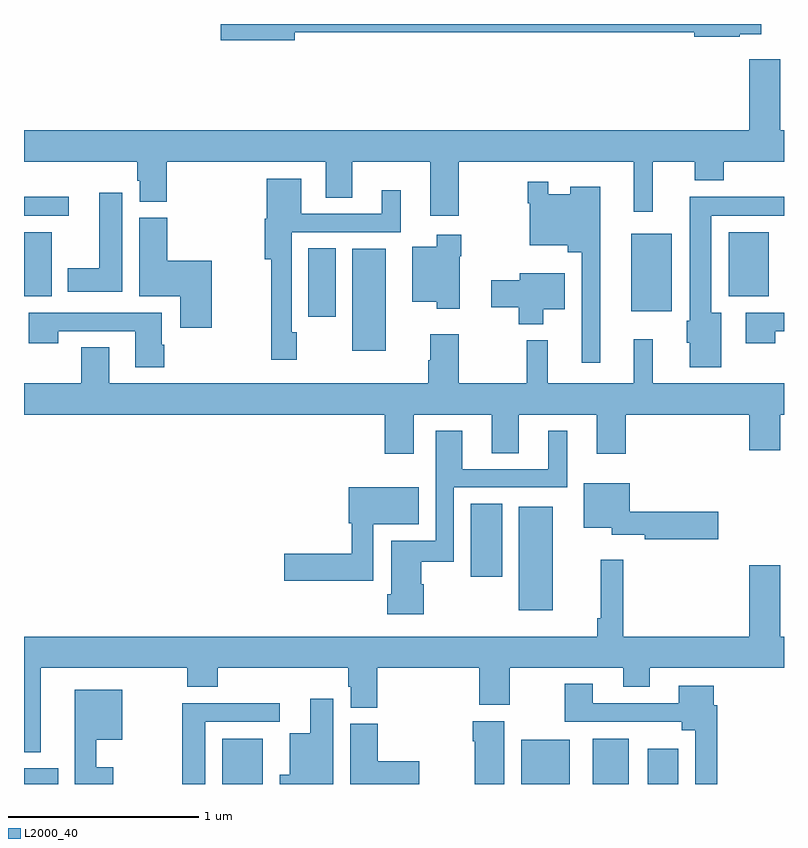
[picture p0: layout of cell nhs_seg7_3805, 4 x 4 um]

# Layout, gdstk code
import gdstk
lib = gdstk.Library(unit=1e-6, precision=1e-09)
def R(c, l, rs):  # rectangles x0, y0, x1, y1
    for r in rs: c.add(gdstk.rectangle(r[:2], r[2:], *l))
def P(c, l, *ps):  # polygons
    for p in ps: c.add(gdstk.Polygon(p, *l))
L2000_40 = (2000, 40)

nhs_seg7_3805 = lib.new_cell('nhs_seg7_3805')
R(nhs_seg7_3805, L2000_40, [(353,1004,353.179,1004.083), (354.044,1004,354.256,1004.239), (355.616,1004,355.873,1004.233), (355.994,1004,356.182,1004.239), (356.282,1004,356.443,1004.185), (355.604,1004.915,355.783,1005.46), (355.352,1005.092,355.516,1005.476), (354.728,1006.28,354.904,1006.816), (354.497,1006.458,354.64,1006.82), (356.195,1006.487,356.41,1006.897), (353,1006.568,353.146,1006.903), (356.708,1006.568,356.92,1006.903), (353,1006.992,353.236,1007.09)])
P(nhs_seg7_3805, L2000_40, [(354.424,1007.956),(356.528,1007.956),(356.528,1007.933),(356.768,1007.933),(356.768,1007.945),(356.881,1007.945),(356.881,1008),(354.036,1008),(354.036,1007.914),(354.424,1007.914)],
  [(355.287,1007.276),(356.21,1007.276),(356.21,1007.013),(356.31,1007.013),(356.31,1007.276),(356.531,1007.276),(356.531,1007.177),(356.684,1007.177),(356.684,1007.276),(357,1007.276),(357,1007.44),(356.98,1007.44),(356.98,1007.815),(356.816,1007.815),(356.816,1007.44),(353,1007.44),(353,1007.276),(353.597,1007.276),(353.597,1007.175),(353.609,1007.175),(353.609,1007.065),(353.75,1007.065),(353.75,1007.276),(354.587,1007.276),(354.587,1007.086),(354.727,1007.086),(354.727,1007.276),(355.139,1007.276),(355.139,1006.992),(355.287,1006.992)],
  [(354.435,1006.377),(354.408,1006.377),(354.408,1006.905),(354.982,1006.905),(354.982,1007.125),(354.884,1007.125),(354.884,1007.001),(354.46,1007.001),(354.46,1007.185),(354.278,1007.185),(354.278,1006.974),(354.266,1006.974),(354.266,1006.763),(354.3,1006.763),(354.3,1006.233),(354.435,1006.233)],
  [(356.032,1007.143),(355.874,1007.143),(355.874,1007.104),(355.758,1007.104),(355.758,1007.17),(355.65,1007.17),(355.65,1007.057),(355.662,1007.057),(355.662,1006.835),(355.862,1006.835),(355.862,1006.799),(355.935,1006.799),(355.935,1006.218),(356.032,1006.218)],
  [(353.518,1007.113),(353.396,1007.113),(353.396,1006.714),(353.231,1006.714),(353.231,1006.592),(353.518,1006.592)],
  [(356.671,1006.48),(356.617,1006.48),(356.617,1006.992),(357,1006.992),(357,1007.09),(356.504,1007.09),(356.504,1006.437),(356.487,1006.437),(356.487,1006.323),(356.504,1006.323),(356.504,1006.194),(356.671,1006.194)],
  [(353.988,1006.753),(353.753,1006.753),(353.753,1006.98),(353.606,1006.98),(353.606,1006.568),(353.822,1006.568),(353.822,1006.401),(353.988,1006.401)],
  [(355.294,1006.778),(355.302,1006.778),(355.302,1006.891),(355.172,1006.891),(355.172,1006.828),(355.043,1006.828),(355.043,1006.538),(355.172,1006.538),(355.172,1006.502),(355.294,1006.502)],
  [(355.732,1006.499),(355.846,1006.499),(355.846,1006.687),(355.61,1006.687),(355.61,1006.652),(355.458,1006.652),(355.458,1006.51),(355.603,1006.51),(355.603,1006.421),(355.732,1006.421)],
  [(353.738,1006.313),(353.725,1006.313),(353.725,1006.479),(353.025,1006.479),(353.025,1006.32),(353.181,1006.32),(353.181,1006.383),(353.585,1006.383),(353.585,1006.194),(353.738,1006.194)],
  [(356.955,1006.383),(357,1006.383),(357,1006.479),(356.799,1006.479),(356.799,1006.32),(356.955,1006.32)],
  [(355.051,1005.944),(355.463,1005.944),(355.463,1005.742),(355.603,1005.742),(355.603,1005.944),(356.015,1005.944),(356.015,1005.738),(356.168,1005.738),(356.168,1005.944),(356.816,1005.944),(356.816,1005.756),(356.98,1005.756),(356.98,1005.944),(357,1005.944),(357,1006.108),(356.309,1006.108),(356.309,1006.342),(356.21,1006.342),(356.21,1006.108),(355.757,1006.108),(355.757,1006.336),(355.647,1006.336),(355.647,1006.108),(355.287,1006.108),(355.287,1006.366),(355.139,1006.366),(355.139,1006.229),(355.127,1006.229),(355.127,1006.108),(353.449,1006.108),(353.449,1006.298),(353.302,1006.298),(353.302,1006.108),(353,1006.108),(353,1005.944),(354.899,1005.944),(354.899,1005.738),(355.051,1005.738)],
  [(355.103,1005.051),(355.09,1005.051),(355.09,1005.171),(355.263,1005.171),(355.263,1005.561),(355.858,1005.561),(355.858,1005.859),(355.76,1005.859),(355.76,1005.657),(355.306,1005.657),(355.306,1005.859),(355.167,1005.859),(355.167,1005.279),(354.932,1005.279),(354.932,1004.998),(354.911,1004.998),(354.911,1004.894),(355.103,1004.894)],
  [(356.653,1005.434),(356.188,1005.434),(356.188,1005.583),(355.946,1005.583),(355.946,1005.35),(356.094,1005.35),(356.094,1005.311),(356.268,1005.311),(356.268,1005.287),(356.653,1005.287)],
  [(354.837,1005.368),(355.078,1005.368),(355.078,1005.562),(354.71,1005.562),(354.71,1005.372),(354.725,1005.372),(354.725,1005.212),(354.369,1005.212),(354.369,1005.07),(354.837,1005.07)],
  [(353.089,1004.612),(353.86,1004.612),(353.86,1004.513),(354.02,1004.513),(354.02,1004.612),(354.707,1004.612),(354.707,1004.511),(354.719,1004.511),(354.719,1004.401),(354.86,1004.401),(354.86,1004.612),(355.397,1004.612),(355.397,1004.418),(355.557,1004.418),(355.557,1004.612),(356.153,1004.612),(356.153,1004.513),(356.293,1004.513),(356.293,1004.612),(357,1004.612),(357,1004.776),(356.98,1004.776),(356.98,1005.151),(356.816,1005.151),(356.816,1004.776),(356.153,1004.776),(356.153,1005.181),(356.035,1005.181),(356.035,1004.872),(356.017,1004.872),(356.017,1004.776),(353,1004.776),(353,1004.168),(353.089,1004.168)],
  [(356.648,1004.414),(356.629,1004.414),(356.629,1004.518),(356.447,1004.518),(356.447,1004.424),(355.993,1004.424),(355.993,1004.527),(355.846,1004.527),(355.846,1004.328),(356.462,1004.328),(356.462,1004.282),(356.532,1004.282),(356.532,1004),(356.648,1004)],
  [(353.47,1004.089),(353.381,1004.089),(353.381,1004.234),(353.518,1004.234),(353.518,1004.497),(353.267,1004.497),(353.267,1004),(353.47,1004)],
  [(354.628,1004.449),(354.506,1004.449),(354.506,1004.266),(354.398,1004.266),(354.398,1004.05),(354.347,1004.05),(354.347,1004),(354.628,1004)],
  [(353.953,1004.328),(354.346,1004.328),(354.346,1004.426),(353.833,1004.426),(353.833,1004),(353.953,1004)],
  [(355.528,1004.329),(355.361,1004.329),(355.361,1004.225),(355.373,1004.225),(355.373,1004),(355.528,1004)],
  [(355.081,1004.12),(354.863,1004.12),(354.863,1004.316),(354.716,1004.316),(354.716,1004),(355.081,1004)])

lib.write_gds('nhs_seg7_3805.gds')
